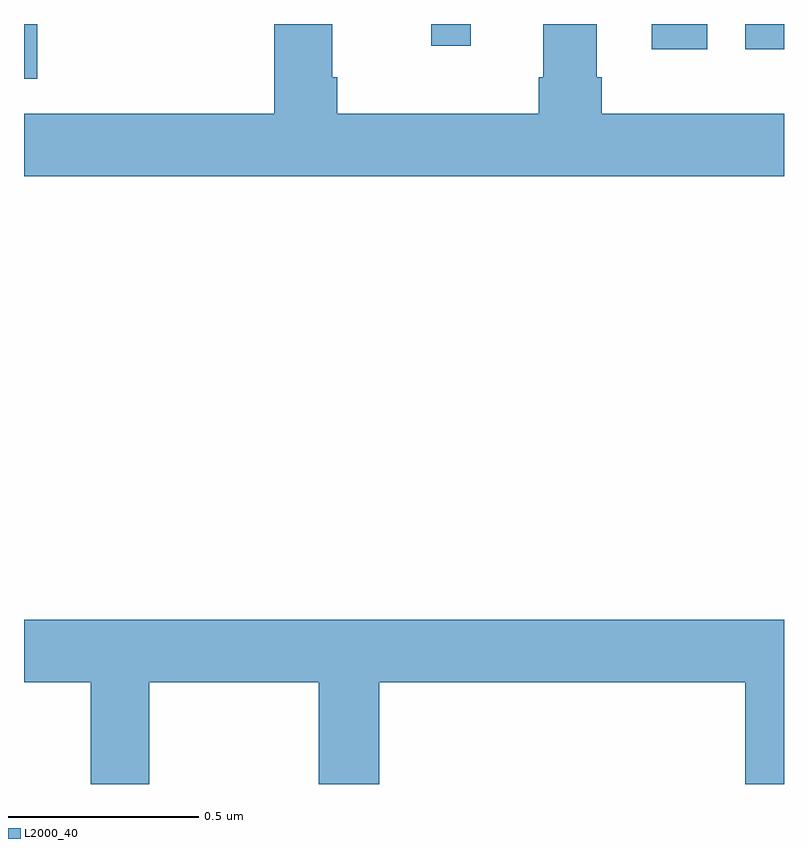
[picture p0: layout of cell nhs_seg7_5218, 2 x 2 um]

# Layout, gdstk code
import gdstk
lib = gdstk.Library(unit=1e-6, precision=1e-09)
def R(c, l, rs):  # rectangles x0, y0, x1, y1
    for r in rs: c.add(gdstk.rectangle(r[:2], r[2:], *l))
def P(c, l, *ps):  # polygons
    for p in ps: c.add(gdstk.Polygon(p, *l))
L2000_40 = (2000, 40)

nhs_seg7_5218 = lib.new_cell('nhs_seg7_5218')
R(nhs_seg7_5218, L2000_40, [(183,1016.856,183.035,1017), (184.652,1016.934,184.798,1017), (184.898,1016.934,185,1017), (184.072,1016.943,184.175,1017)])
P(nhs_seg7_5218, L2000_40, [(185,1016.764),(184.52,1016.764),(184.52,1016.86),(184.507,1016.86),(184.507,1017),(184.367,1017),(184.367,1016.86),(184.355,1016.86),(184.355,1016.764),(183.824,1016.764),(183.824,1016.86),(183.811,1016.86),(183.811,1017),(183.659,1017),(183.659,1016.764),(183,1016.764),(183,1016.6),(185,1016.6)],
  [(183.33,1015.268),(183.775,1015.268),(183.775,1015),(183.935,1015),(183.935,1015.268),(184.898,1015.268),(184.898,1015),(185,1015),(185,1015.432),(183,1015.432),(183,1015.268),(183.175,1015.268),(183.175,1015),(183.33,1015)])

lib.write_gds('nhs_seg7_5218.gds')
